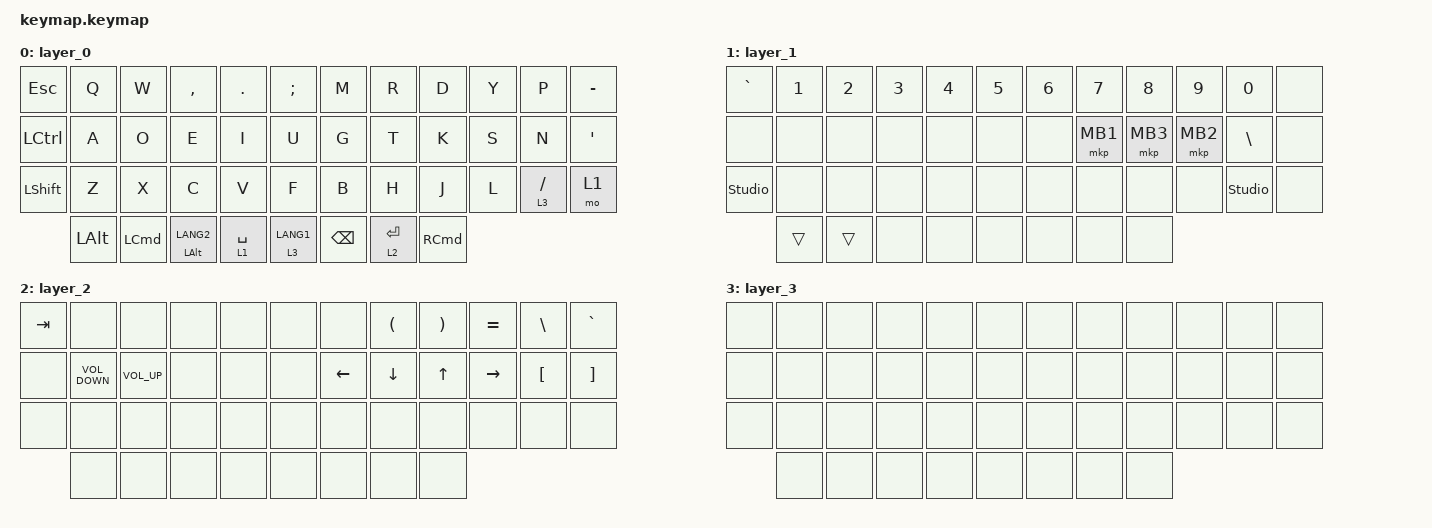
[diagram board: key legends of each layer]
#include <behaviors.dtsi>
#include <dt-bindings/zmk/keys.h>
#include <dt-bindings/zmk/pointing.h>

/ {
    keymap {
        compatible = "zmk,keymap";

        layer_0 {
            bindings = <
&kp ESC           &kp Q         &kp W             &kp COMMA           &kp PERIOD   &kp SEMICOLON  &kp M          &kp R        &kp D              &kp Y  &kp P        &kp MINUS
&kp LEFT_CONTROL  &kp A         &kp O             &kp E               &kp I        &kp U          &kp G          &kp T        &kp K              &kp S  &kp N        &kp SINGLE_QUOTE
&kp LEFT_SHIFT    &kp Z         &kp X             &kp C               &kp V        &kp F          &kp B          &kp H        &kp J              &kp L  &lt 3 SLASH  &mo 1
                  &kp LEFT_ALT  &kp LEFT_COMMAND  &mt LEFT_ALT LANG2  &lt 1 SPACE  &lt 3 LANG1    &kp BACKSPACE  &lt 2 ENTER  &kp RIGHT_COMMAND
            >;
        };

        layer_1 {
            bindings = <
&kp GRAVE       &kp NUMBER_1  &kp NUMBER_2  &kp NUMBER_3  &kp NUMBER_4  &kp NUMBER_5  &kp NUMBER_6  &kp NUMBER_7  &kp NUMBER_8  &kp NUMBER_9  &kp NUMBER_0    &none
&none           &none         &none         &none         &none         &none         &none         &mkp MB1      &mkp MB3      &mkp MB2      &kp BACKSLASH   &none
&studio_unlock  &none         &none         &none         &none         &none         &none         &none         &none         &none         &studio_unlock  &none
                &trans        &trans        &none         &none         &none         &none         &none         &none
            >;
        };

        layer_2 {
            bindings = <
&kp TAB  &none              &none            &none  &none  &none  &none     &kp LEFT_PARENTHESIS  &kp RIGHT_PARENTHESIS  &kp EQUAL  &kp BACKSLASH     &kp GRAVE
&none    &kp C_VOLUME_DOWN  &kp C_VOLUME_UP  &none  &none  &none  &kp LEFT  &kp DOWN              &kp UP_ARROW           &kp RIGHT  &kp LEFT_BRACKET  &kp RIGHT_BRACKET
&none    &none              &none            &none  &none  &none  &none     &none                 &none                  &none      &none             &none
         &none              &none            &none  &none  &none  &none     &none                 &none
            >;
        };

        layer_3 {
            bindings = <
&none  &none  &none  &none  &none  &none  &none  &none  &none  &none  &none  &none
&none  &none  &none  &none  &none  &none  &none  &none  &none  &none  &none  &none
&none  &none  &none  &none  &none  &none  &none  &none  &none  &none  &none  &none
       &none  &none  &none  &none  &none  &none  &none  &none
            >;
        };
    };
};
